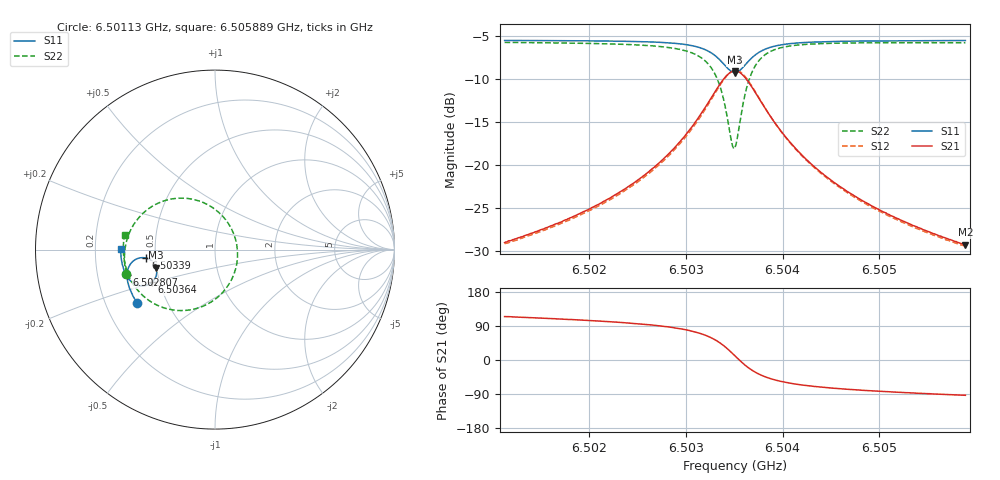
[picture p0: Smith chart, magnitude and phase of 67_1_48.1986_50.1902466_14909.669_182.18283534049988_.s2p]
#  HZ  S  RI  R  50.00
! Rohde & Schwarz Vector Network Analyzer
! Rohde-Schwarz,ZNB20-2Port,1311601062101988,3.16
! Created: UTC 3/20/2024, 11:39:00 AM
! freq[Hz]  re:S11  im:S11  re:S21  im:S21  re:S12  im:S12  re:S22  im:S22
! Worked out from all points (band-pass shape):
!   401 points, 6.50113 GHz to 6.505889 GHz, reference 50 ohm
!   highest |S21| = -9.12 dB at 6.503509 GHz (marker M1); lowest = -29.3 dB at 6.505889 GHz (marker M2)
!   |S21| within 3 dB of the highest: 6.50327 GHz to 6.503747 GHz (476.6 kHz wide, 0.00733 % of centre)
!   lowest |S11| = -9.3 dB at 6.503509 GHz (marker M3), VSWR 2.04, Z = 24.9 - j5.71 ohm
!   |S11| at or under -10 dB: nowhere
!   |S22| runs from -18.1 to -5.8 dB; largest |S21 - S12| = 0.012
!   S11 on the Smith chart (normalised r, x): 6.50113 GHz: 0.34, -0.28; 6.502807 GHz: 0.33, -0.13; 6.50339 GHz: 0.44, -0.05; 6.50364 GHz: 0.46, -0.20; 6.505889 GHz: 0.31, +0.00
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6.5011296e9  -0.4344 -0.2975  -0.0147 0.0321  -0.013 0.0323  -0.4946 -0.1366
6.5019268e9  -0.4674 -0.2368  -0.0138 0.0509  -0.0114 0.0503  -0.5045 -0.0486
6.502367e9  -0.4822 -0.1966  -0.0105 0.0714  -0.00737 0.0702  -0.4994 0.0173
6.5027239e9  -0.4897 -0.1552  -0.000557 0.1022  0.00309 0.0998  -0.477 0.0938
6.5028072e9  -0.4902 -0.1434  0.00444 0.1131  0.00811 0.11  -0.466 0.1168
6.5030095e9  -0.4853 -0.1094  0.0279 0.1488  0.0316 0.144  -0.4169 0.1865
6.5031522e9  -0.4703 -0.0792  0.0668 0.1832  0.0696 0.177  -0.3412 0.2463
6.503295e9  -0.4309 -0.0496  0.1516 0.2121  0.1522 0.2058  -0.1866 0.2867
6.5033426e9  -0.4088 -0.0449  0.1958 0.2104  0.1955 0.2046  -0.1094 0.2769
6.5033902e9  -0.3827 -0.0474  0.246 0.1942  0.2461 0.1894  -0.023 0.2403
6.5034735e9  -0.3386 -0.0782  0.3261 0.1164  0.3287 0.112  0.1049 0.0862
6.5035092e9  -0.3277 -0.1012  0.3438 0.0659  0.3477 0.06  0.1253 -0.0089
6.503533e9  -0.3246 -0.1181  0.347 0.03  0.3511 0.023  0.1222 -0.0746
6.5035687e9  -0.327 -0.143  0.339 -0.0216  0.3427 -0.0309  0.0927 -0.1664
6.5036401e9  -0.3502 -0.1811  0.2901 -0.0999  0.2901 -0.1118  -0.0224 -0.2925
6.5037352e9  -0.3922 -0.2014  0.2093 -0.1439  0.2041 -0.1545  -0.1876 -0.3396
6.5038899e9  -0.4426 -0.1942  0.1186 -0.1427  0.1111 -0.1484  -0.3521 -0.2936
6.5040565e9  -0.4724 -0.173  0.0693 -0.121  0.0626 -0.1235  -0.4323 -0.2244
6.5043064e9  -0.4952 -0.1418  0.0356 -0.0933  0.0304 -0.0939  -0.481 -0.145
6.5046871e9  -0.5117 -0.1008  0.0148 -0.0673  0.0114 -0.0669  -0.505 -0.064
6.5051035e9  -0.5206 -0.0616  0.00549 -0.051  0.00305 -0.0502  -0.5107 -0.00242
6.5058888e9  -0.526 0.00582  -0.00189 -0.0344  -0.0033 -0.0335  -0.5039 0.084
